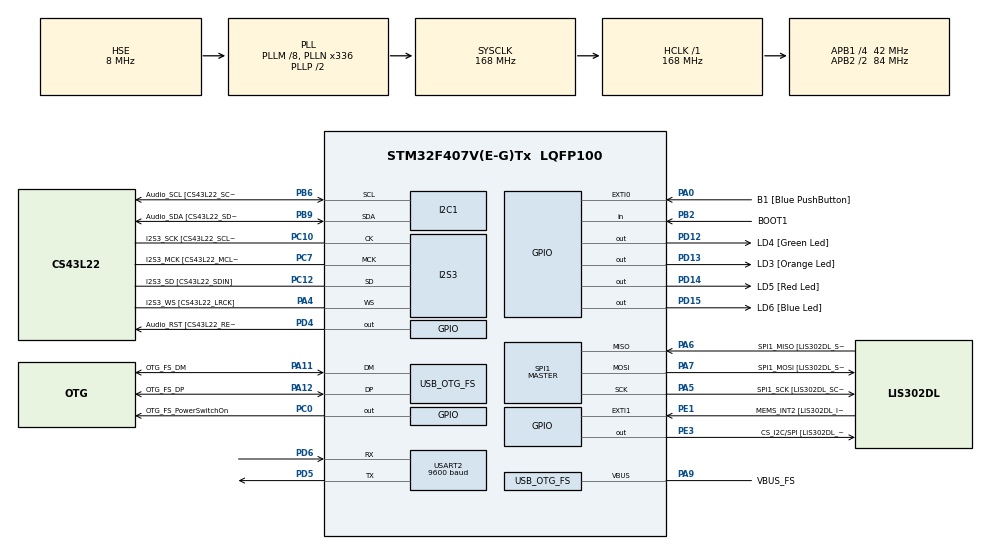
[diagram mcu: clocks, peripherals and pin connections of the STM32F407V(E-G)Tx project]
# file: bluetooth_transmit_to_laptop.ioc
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I2S3.AudioFreq-Half_Duplex_Master=I2S_AUDIOFREQ_96K
I2S3.ErrorAudioFreq=-2.34 %
I2S3.ErrorAudioFreq-Half_Duplex_Master=0.8 %
I2S3.FullDuplexMode=I2S_FULLDUPLEXMODE_DISABLE
I2S3.Instance=SPI$Index
I2S3.RealAudioFreq=93.75 KHz
I2S3.RealAudioFreq-Half_Duplex_Master=96.774 KHz
I2S3.VirtualMode=I2S_MODE_MASTER
Mcu.Family=STM32F4
Mcu.Name=STM32F407V(E-G)Tx
Mcu.Package=LQFP100
NVIC.OTG_FS_IRQn=true\:0\:0\:false\:false\:true\:true\:true\:true
NVIC.PriorityGroup=NVIC_PRIORITYGROUP_0
NVIC.USART2_IRQn=true\:0\:0\:false\:false\:true\:true\:true\:true
PA0-WKUP.GPIO_Label=B1 [Blue PushButton]
PA0-WKUP.GPIO_ModeDefaultEXTI=GPIO_MODE_EVT_RISING
PA0-WKUP.GPIO_PuPd=GPIO_NOPULL
PA0-WKUP.Signal=GPXTI0
PA10.GPIO_Label=OTG_FS_ID
PA10.GPIO_Mode=GPIO_MODE_AF_PP
PA10.GPIO_PuPd=GPIO_NOPULL
PA10.GPIO_Speed=GPIO_SPEED_FREQ_LOW
PA10.Signal=USB_OTG_FS_ID
PA11.GPIO_Label=OTG_FS_DM
PA11.GPIO_Mode=GPIO_MODE_AF_PP
PA11.GPIO_PuPd=GPIO_NOPULL
PA11.GPIO_Speed=GPIO_SPEED_FREQ_LOW
PA11.Mode=Host_Only
PA11.Signal=USB_OTG_FS_DM
PA12.GPIO_Label=OTG_FS_DP
PA12.GPIO_Mode=GPIO_MODE_AF_PP
PA12.GPIO_PuPd=GPIO_NOPULL
PA12.GPIO_Speed=GPIO_SPEED_FREQ_LOW
PA12.Mode=Host_Only
PA12.Signal=USB_OTG_FS_DP
PA13.GPIO_Label=SWDIO
PA13.Mode=Serial_Wire
PA13.Signal=SYS_JTMS-SWDIO
PA14.GPIO_Label=SWCLK
PA14.Mode=Serial_Wire
PA14.Signal=SYS_JTCK-SWCLK
PA4.GPIO_Label=I2S3_WS [CS43L22_LRCK]
PA4.GPIO_Mode=GPIO_MODE_AF_PP
PA4.GPIO_PuPd=GPIO_NOPULL
PA4.GPIO_Speed=GPIO_SPEED_FREQ_LOW
PA4.Mode=Half_Duplex_Master
PA4.Signal=I2S3_WS
PA5.GPIO_Label=SPI1_SCK [LIS302DL_SCL/SPC]
PA5.GPIO_Mode=GPIO_MODE_AF_PP
PA5.GPIO_PuPd=GPIO_NOPULL
PA5.GPIO_Speed=GPIO_SPEED_FREQ_LOW
PA5.Mode=Full_Duplex_Master
PA5.Signal=SPI1_SCK
PA6.GPIO_Label=SPI1_MISO [LIS302DL_SDO]
PA6.GPIO_Mode=GPIO_MODE_AF_PP
PA6.GPIO_PuPd=GPIO_NOPULL
PA6.GPIO_Speed=GPIO_SPEED_FREQ_LOW
PA6.Mode=Full_Duplex_Master
PA6.Signal=SPI1_MISO
PA7.GPIO_Label=SPI1_MOSI [LIS302DL_SDA/SDI/SDO]
PA7.GPIO_Mode=GPIO_MODE_AF_PP
PA7.GPIO_PuPd=GPIO_NOPULL
PA7.GPIO_Speed=GPIO_SPEED_FREQ_LOW
PA7.Mode=Full_Duplex_Master
PA7.Signal=SPI1_MOSI
PA9.GPIO_Label=VBUS_FS
PA9.GPIO_Mode=GPIO_MODE_INPUT
PA9.GPIO_PuPd=GPIO_NOPULL
PA9.Mode=Activate_VBUS
PA9.Signal=USB_OTG_FS_VBUS
PB10.GPIO_Label=CLK_IN [MP45DT02_CLK]
PB10.GPIO_Mode=GPIO_MODE_AF_PP
PB10.GPIO_PuPd=GPIO_NOPULL
PB10.GPIO_Speed=GPIO_SPEED_FREQ_LOW
PB10.Signal=I2S2_CK
PB2.GPIO_Label=BOOT1
PB2.GPIO_Mode=GPIO_MODE_INPUT
PB2.GPIO_PuPd=GPIO_NOPULL
PB2.Signal=GPIO_Input
PB3.GPIO_Label=SWO
PB3.Signal=SYS_JTDO-SWO
PB6.GPIO_Label=Audio_SCL [CS43L22_SCL]
PB6.GPIO_Mode=GPIO_MODE_AF_OD
PB6.GPIO_Pu=GPIO_PULLUP
PB6.GPIO_PuPd=GPIO_NOPULL
PB6.GPIO_Speed=GPIO_SPEED_FREQ_LOW
PB6.Mode=I2C
PB6.Signal=I2C1_SCL
PB9.GPIO_Label=Audio_SDA [CS43L22_SDA]
PB9.GPIO_Mode=GPIO_MODE_AF_OD
PB9.GPIO_Pu=GPIO_PULLUP
PB9.GPIO_PuPd=GPIO_NOPULL
PB9.GPIO_Speed=GPIO_SPEED_FREQ_LOW
PB9.Mode=I2C
PB9.Signal=I2C1_SDA
PC0.GPIO_Label=OTG_FS_PowerSwitchOn
PC0.GPIO_PuPd=GPIO_NOPULL
PC0.GPIO_Speed=GPIO_SPEED_FREQ_LOW
PC0.PinState=GPIO_PIN_SET
PC0.Signal=GPIO_Output
PC10.GPIO_Label=I2S3_SCK [CS43L22_SCLK]
PC10.GPIO_Mode=GPIO_MODE_AF_PP
PC10.GPIO_PuPd=GPIO_NOPULL
PC10.GPIO_Speed=GPIO_SPEED_FREQ_LOW
PC10.Mode=Half_Duplex_Master
PC10.Signal=I2S3_CK
PC12.GPIO_Label=I2S3_SD [CS43L22_SDIN]
PC12.GPIO_Mode=GPIO_MODE_AF_PP
PC12.GPIO_PuPd=GPIO_NOPULL
PC12.GPIO_Speed=GPIO_SPEED_FREQ_LOW
PC12.Mode=Half_Duplex_Master
PC12.Signal=I2S3_SD
PC14-OSC32_IN.GPIO_Label=PC14-OSC32_IN
PC14-OSC32_IN.Mode=LSE-External-Oscillator
PC14-OSC32_IN.Signal=RCC_OSC32_IN
PC15-OSC32_OUT.GPIO_Label=PC15-OSC32_OUT
PC15-OSC32_OUT.Mode=LSE-External-Oscillator
PC15-OSC32_OUT.Signal=RCC_OSC32_OUT
PC3.GPIO_Label=PDM_OUT [MP45DT02_DOUT]
PC3.GPIO_Mode=GPIO_MODE_AF_PP
PC3.GPIO_PuPd=GPIO_NOPULL
PC3.GPIO_Speed=GPIO_SPEED_FREQ_LOW
PC3.Signal=I2S2_SD
PC7.GPIO_Label=I2S3_MCK [CS43L22_MCLK]
PC7.GPIO_Mode=GPIO_MODE_AF_PP
PC7.GPIO_PuPd=GPIO_NOPULL
PC7.GPIO_Speed=GPIO_SPEED_FREQ_LOW
PC7.Mode=Master_Clock_Activated
PC7.Signal=I2S3_MCK
PD12.GPIO_Label=LD4 [Green Led]
PD12.GPIO_PuPd=GPIO_NOPULL
PD12.GPIO_Speed=GPIO_SPEED_FREQ_LOW
PD12.Signal=GPIO_Output
PD13.GPIO_Label=LD3 [Orange Led]
PD13.GPIO_PuPd=GPIO_NOPULL
PD13.GPIO_Speed=GPIO_SPEED_FREQ_LOW
PD13.Signal=GPIO_Output
PD14.GPIO_Label=LD5 [Red Led]
PD14.GPIO_PuPd=GPIO_NOPULL
PD14.GPIO_Speed=GPIO_SPEED_FREQ_LOW
PD14.Signal=GPIO_Output
PD15.GPIO_Label=LD6 [Blue Led]
PD15.GPIO_PuPd=GPIO_NOPULL
PD15.GPIO_Speed=GPIO_SPEED_FREQ_LOW
PD15.Signal=GPIO_Output
PD4.GPIO_Label=Audio_RST [CS43L22_RESET]
PD4.GPIO_PuPd=GPIO_NOPULL
PD4.GPIO_Speed=GPIO_SPEED_FREQ_LOW
PD4.Signal=GPIO_Output
PD5.Mode=Asynchronous
PD5.Signal=USART2_TX
PD6.Mode=Asynchronous
PD6.Signal=USART2_RX
PE1.GPIO_Label=MEMS_INT2 [LIS302DL_INT2]
PE1.GPIO_ModeDefaultEXTI=GPIO_MODE_EVT_RISING
PE1.GPIO_PuPd=GPIO_NOPULL
PE1.Signal=GPXTI1
PE3.GPIO_Label=CS_I2C/SPI [LIS302DL_CS_I2C/SPI]
PE3.GPIO_PuPd=GPIO_NOPULL
PE3.GPIO_Speed=GPIO_SPEED_FREQ_LOW
PE3.Signal=GPIO_Output
PH0-OSC_IN.GPIO_Label=PH0-OSC_IN
PH0-OSC_IN.Mode=HSE-External-Oscillator
PH0-OSC_IN.Signal=RCC_OSC_IN
PH1-OSC_OUT.GPIO_Label=PH1-OSC_OUT
PH1-OSC_OUT.Mode=HSE-External-Oscillator
PH1-OSC_OUT.Signal=RCC_OSC_OUT
ProjectManager.HeapSize=0x200
ProjectManager.StackSize=0x400
ProjectManager.TargetToolchain=CMake
RCC.48MHZClocksFreq_Value=48000000
RCC.AHBFreq_Value=168000000
RCC.APB1CLKDivider=RCC_HCLK_DIV4
RCC.APB1Freq_Value=42000000
RCC.APB1TimFreq_Value=84000000
RCC.APB2CLKDivider=RCC_HCLK_DIV2
RCC.APB2Freq_Value=84000000
RCC.APB2TimFreq_Value=168000000
RCC.CortexFreq_Value=168000000
RCC.HCLKFreq_Value=168000000
RCC.HSE_VALUE=8000000
RCC.HSI_VALUE=16000000
RCC.PLLM=8
RCC.PLLN=336
RCC.PLLQ=7
RCC.SYSCLKFreq_VALUE=168000000
RCC.SYSCLKSource=RCC_SYSCLKSOURCE_PLLCLK
RCC.VCOOutputFreq_Value=336000000
SPI1.BaudRatePrescaler-Full_Duplex_Master=SPI_BAUDRATEPRESCALER_2
SPI1.CalculateBaudRate-Full_Duplex_Master=42.0 MBits/s
SPI1.Direction=SPI_DIRECTION_2LINES
SPI1.Mode=SPI_MODE_MASTER
SPI1.Mode-Full_Duplex_Master=SPI_MODE_MASTER
SPI1.VirtualType=VM_MASTER
USART2.BaudRate=9600
USART2.VirtualMode=VM_ASYNC
USB_HOST.BSP.number=1
USB_HOST.USBH_HandleTypeDef-CDC_FS=hUsbHostFS
USB_HOST.VirtualModeFS=Cdc
USB_HOST0.BSP.STBoard=false
USB_HOST0.BSP.api=Unknown
USB_HOST0.BSP.instance=PC0
USB_HOST0.BSP.ip=GPIO
USB_HOST0.BSP.mode=Output
USB_HOST0.BSP.name=Drive_VBUS_FS
USB_HOST0.BSP.solution=PC0
USB_OTG_FS.VirtualMode=Host_Only
USB_OTG_FS.phy_itface=HCD_PHY_EMBEDDED
VP_USB_HOST_VS_USB_HOST_CDC_FS.Mode=CDC_FS
board=STM32F407G-DISC1

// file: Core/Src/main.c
/* USER CODE BEGIN Header */
/**
  ******************************************************************************
  * @file           : main.c
  * @brief          : Main program body
  ******************************************************************************
  * @attention
  *
  * Copyright (c) 2026 STMicroelectronics.
  * All rights reserved.
  *
  * This software is licensed under terms that can be found in the LICENSE file
  * in the root directory of this software component.
  * If no LICENSE file comes with this software, it is provided AS-IS.
  *
  ******************************************************************************
  */
/* USER CODE END Header */
#include "main.h"
#include "usb_host.h"

I2C_HandleTypeDef hi2c1;

I2S_HandleTypeDef hi2s3;

SPI_HandleTypeDef hspi1;

UART_HandleTypeDef huart2;

/* USER CODE BEGIN PV */
char msg[] = "Hello from STM32\r\n";
char matrix[2][3] = {{'1', '1', '0'},{'0', '0', '1'}};
uint8_t rxData;
/* USER CODE END PV */

void SystemClock_Config(void);
static void MX_GPIO_Init(void);
static void MX_I2C1_Init(void);
static void MX_I2S3_Init(void);
static void MX_SPI1_Init(void);
static void MX_USART2_UART_Init(void);
void MX_USB_HOST_Process(void);

int main(void)
{

  /* MCU Configuration--------------------------------------------------------*/

  /* Reset of all peripherals, Initializes the Flash interface and the Systick. */
  HAL_Init();

  /* Configure the system clock */
  SystemClock_Config();

  /* Initialize all configured peripherals */
  MX_GPIO_Init();
  MX_I2C1_Init();
  MX_I2S3_Init();
  MX_SPI1_Init();
  MX_USART2_UART_Init();
  MX_USB_HOST_Init();
  /* USER CODE BEGIN 2 */
  HAL_UART_Receive_IT(&huart2,&rxData,1); // Enabling interrupt receive
  /* USER CODE END 2 */

  /* Infinite loop */
  /* USER CODE BEGIN WHILE */
  while (1)
  {
    // HAL_UART_Transmit(&huart2, (uint8_t*)msg, sizeof(msg)-1, HAL_MAX_DELAY);
    HAL_Delay(500);
    for (int i = 0; i < 2; i++) {
      char currMsg[4];
      for (int j = 0; j < 3; j++)
        currMsg[j] = matrix[i][j];
      currMsg[3] = '\0';

      char endl[] = "\r\n";
      HAL_UART_Transmit(&huart2, (uint8_t*)currMsg, 4, HAL_MAX_DELAY);
      HAL_UART_Transmit(&huart2, (uint8_t*)endl, 2, HAL_MAX_DELAY);
    }
    HAL_Delay(1000);
    break;
    /* USER CODE END WHILE */
    MX_USB_HOST_Process();

  }
}

void SystemClock_Config(void)
{
  RCC_OscInitTypeDef RCC_OscInitStruct = {0};
  RCC_ClkInitTypeDef RCC_ClkInitStruct = {0};

  /** Configure the main internal regulator output voltage
  */
  __HAL_RCC_PWR_CLK_ENABLE();
  __HAL_PWR_VOLTAGESCALING_CONFIG(PWR_REGULATOR_VOLTAGE_SCALE1);

  /** Initializes the RCC Oscillators according to the specified parameters
  * in the RCC_OscInitTypeDef structure.
  */
  RCC_OscInitStruct.OscillatorType = RCC_OSCILLATORTYPE_HSE;
  RCC_OscInitStruct.HSEState = RCC_HSE_ON;
  RCC_OscInitStruct.PLL.PLLState = RCC_PLL_ON;
  RCC_OscInitStruct.PLL.PLLSource = RCC_PLLSOURCE_HSE;
  RCC_OscInitStruct.PLL.PLLM = 8;
  RCC_OscInitStruct.PLL.PLLN = 336;
  RCC_OscInitStruct.PLL.PLLP = RCC_PLLP_DIV2;
  RCC_OscInitStruct.PLL.PLLQ = 7;
  if (HAL_RCC_OscConfig(&RCC_OscInitStruct) != HAL_OK)
  {
    Error_Handler();
  }

  /** Initializes the CPU, AHB and APB buses clocks
  */
  RCC_ClkInitStruct.ClockType = RCC_CLOCKTYPE_HCLK|RCC_CLOCKTYPE_SYSCLK
                              |RCC_CLOCKTYPE_PCLK1|RCC_CLOCKTYPE_PCLK2;
  RCC_ClkInitStruct.SYSCLKSource = RCC_SYSCLKSOURCE_PLLCLK;
  RCC_ClkInitStruct.AHBCLKDivider = RCC_SYSCLK_DIV1;
  RCC_ClkInitStruct.APB1CLKDivider = RCC_HCLK_DIV4;
  RCC_ClkInitStruct.APB2CLKDivider = RCC_HCLK_DIV2;

  if (HAL_RCC_ClockConfig(&RCC_ClkInitStruct, FLASH_LATENCY_5) != HAL_OK)
  {
    Error_Handler();
  }
}

static void MX_I2C1_Init(void)
{

  hi2c1.Instance = I2C1;
  hi2c1.Init.ClockSpeed = 100000;
  hi2c1.Init.DutyCycle = I2C_DUTYCYCLE_2;
  hi2c1.Init.OwnAddress1 = 0;
  hi2c1.Init.AddressingMode = I2C_ADDRESSINGMODE_7BIT;
  hi2c1.Init.DualAddressMode = I2C_DUALADDRESS_DISABLE;
  hi2c1.Init.OwnAddress2 = 0;
  hi2c1.Init.GeneralCallMode = I2C_GENERALCALL_DISABLE;
  hi2c1.Init.NoStretchMode = I2C_NOSTRETCH_DISABLE;
  if (HAL_I2C_Init(&hi2c1) != HAL_OK)
  {
    Error_Handler();
  }

}

static void MX_I2S3_Init(void)
{

  hi2s3.Instance = SPI3;
  hi2s3.Init.Mode = I2S_MODE_MASTER_TX;
  hi2s3.Init.Standard = I2S_STANDARD_PHILIPS;
  hi2s3.Init.DataFormat = I2S_DATAFORMAT_16B;
  hi2s3.Init.MCLKOutput = I2S_MCLKOUTPUT_ENABLE;
  hi2s3.Init.AudioFreq = I2S_AUDIOFREQ_96K;
  hi2s3.Init.CPOL = I2S_CPOL_LOW;
  hi2s3.Init.ClockSource = I2S_CLOCK_PLL;
  hi2s3.Init.FullDuplexMode = I2S_FULLDUPLEXMODE_DISABLE;
  if (HAL_I2S_Init(&hi2s3) != HAL_OK)
  {
    Error_Handler();
  }

}

static void MX_SPI1_Init(void)
{

  /* SPI1 parameter configuration*/
  hspi1.Instance = SPI1;
  hspi1.Init.Mode = SPI_MODE_MASTER;
  hspi1.Init.Direction = SPI_DIRECTION_2LINES;
  hspi1.Init.DataSize = SPI_DATASIZE_8BIT;
  hspi1.Init.CLKPolarity = SPI_POLARITY_LOW;
  hspi1.Init.CLKPhase = SPI_PHASE_1EDGE;
  hspi1.Init.NSS = SPI_NSS_SOFT;
  hspi1.Init.BaudRatePrescaler = SPI_BAUDRATEPRESCALER_2;
  hspi1.Init.FirstBit = SPI_FIRSTBIT_MSB;
  hspi1.Init.TIMode = SPI_TIMODE_DISABLE;
  hspi1.Init.CRCCalculation = SPI_CRCCALCULATION_DISABLE;
  hspi1.Init.CRCPolynomial = 10;
  if (HAL_SPI_Init(&hspi1) != HAL_OK)
  {
    Error_Handler();
  }

}

static void MX_USART2_UART_Init(void)
{

  huart2.Instance = USART2;
  huart2.Init.BaudRate = 9600;
  huart2.Init.WordLength = UART_WORDLENGTH_8B;
  huart2.Init.StopBits = UART_STOPBITS_1;
  huart2.Init.Parity = UART_PARITY_NONE;
  huart2.Init.Mode = UART_MODE_TX_RX;
  huart2.Init.HwFlowCtl = UART_HWCONTROL_NONE;
  huart2.Init.OverSampling = UART_OVERSAMPLING_16;
  if (HAL_UART_Init(&huart2) != HAL_OK)
  {
    Error_Handler();
  }

}

static void MX_GPIO_Init(void)
{
  GPIO_InitTypeDef GPIO_InitStruct = {0};

  /* GPIO Ports Clock Enable */
  __HAL_RCC_GPIOE_CLK_ENABLE();
  __HAL_RCC_GPIOC_CLK_ENABLE();
  __HAL_RCC_GPIOH_CLK_ENABLE();
  __HAL_RCC_GPIOA_CLK_ENABLE();
  __HAL_RCC_GPIOB_CLK_ENABLE();
  __HAL_RCC_GPIOD_CLK_ENABLE();

  /*Configure GPIO pin Output Level */
  HAL_GPIO_WritePin(CS_I2C_SPI_GPIO_Port, CS_I2C_SPI_Pin, GPIO_PIN_RESET);

  /*Configure GPIO pin Output Level */
  HAL_GPIO_WritePin(OTG_FS_PowerSwitchOn_GPIO_Port, OTG_FS_PowerSwitchOn_Pin, GPIO_PIN_SET);

  /*Configure GPIO pin Output Level */
  HAL_GPIO_WritePin(GPIOD, LD4_Pin|LD3_Pin|LD5_Pin|LD6_Pin
                          |Audio_RST_Pin, GPIO_PIN_RESET);

  /*Configure GPIO pin : CS_I2C_SPI_Pin */
  GPIO_InitStruct.Pin = CS_I2C_SPI_Pin;
  GPIO_InitStruct.Mode = GPIO_MODE_OUTPUT_PP;
  GPIO_InitStruct.Pull = GPIO_NOPULL;
  GPIO_InitStruct.Speed = GPIO_SPEED_FREQ_LOW;
  HAL_GPIO_Init(CS_I2C_SPI_GPIO_Port, &GPIO_InitStruct);

  /*Configure GPIO pin : OTG_FS_PowerSwitchOn_Pin */
  GPIO_InitStruct.Pin = OTG_FS_PowerSwitchOn_Pin;
  GPIO_InitStruct.Mode = GPIO_MODE_OUTPUT_PP;
  GPIO_InitStruct.Pull = GPIO_NOPULL;
  GPIO_InitStruct.Speed = GPIO_SPEED_FREQ_LOW;
  HAL_GPIO_Init(OTG_FS_PowerSwitchOn_GPIO_Port, &GPIO_InitStruct);

  /*Configure GPIO pin : PDM_OUT_Pin */
  GPIO_InitStruct.Pin = PDM_OUT_Pin;
  GPIO_InitStruct.Mode = GPIO_MODE_AF_PP;
  GPIO_InitStruct.Pull = GPIO_NOPULL;
  GPIO_InitStruct.Speed = GPIO_SPEED_FREQ_LOW;
  GPIO_InitStruct.Alternate = GPIO_AF5_SPI2;
  HAL_GPIO_Init(PDM_OUT_GPIO_Port, &GPIO_InitStruct);

  /*Configure GPIO pin : B1_Pin */
  GPIO_InitStruct.Pin = B1_Pin;
  GPIO_InitStruct.Mode = GPIO_MODE_EVT_RISING;
  GPIO_InitStruct.Pull = GPIO_NOPULL;
  HAL_GPIO_Init(B1_GPIO_Port, &GPIO_InitStruct);

  /*Configure GPIO pin : BOOT1_Pin */
  GPIO_InitStruct.Pin = BOOT1_Pin;
  GPIO_InitStruct.Mode = GPIO_MODE_INPUT;
  GPIO_InitStruct.Pull = GPIO_NOPULL;
  HAL_GPIO_Init(BOOT1_GPIO_Port, &GPIO_InitStruct);

  /*Configure GPIO pin : CLK_IN_Pin */
  GPIO_InitStruct.Pin = CLK_IN_Pin;
  GPIO_InitStruct.Mode = GPIO_MODE_AF_PP;
  GPIO_InitStruct.Pull = GPIO_NOPULL;
  GPIO_InitStruct.Speed = GPIO_SPEED_FREQ_LOW;
  GPIO_InitStruct.Alternate = GPIO_AF5_SPI2;
  HAL_GPIO_Init(CLK_IN_GPIO_Port, &GPIO_InitStruct);

  /*Configure GPIO pins : LD4_Pin LD3_Pin LD5_Pin LD6_Pin
                           Audio_RST_Pin */
  GPIO_InitStruct.Pin = LD4_Pin|LD3_Pin|LD5_Pin|LD6_Pin
                          |Audio_RST_Pin;
  GPIO_InitStruct.Mode = GPIO_MODE_OUTPUT_PP;
  GPIO_InitStruct.Pull = GPIO_NOPULL;
  GPIO_InitStruct.Speed = GPIO_SPEED_FREQ_LOW;
  HAL_GPIO_Init(GPIOD, &GPIO_InitStruct);

  /*Configure GPIO pin : MEMS_INT2_Pin */
  GPIO_InitStruct.Pin = MEMS_INT2_Pin;
  GPIO_InitStruct.Mode = GPIO_MODE_EVT_RISING;
  GPIO_InitStruct.Pull = GPIO_NOPULL;
  HAL_GPIO_Init(MEMS_INT2_GPIO_Port, &GPIO_InitStruct);

}

/* USER CODE BEGIN 4 */
void HAL_UART_RxCpltCallback(UART_HandleTypeDef *huart)
{
  if(huart->Instance==USART2)
  {
    if(rxData==78) // Ascii value of 'N' is 78 (N for NO)
    {
      HAL_GPIO_WritePin(LD4_GPIO_Port, LD4_Pin, GPIO_PIN_RESET);
    }
    else if (rxData==89) // Ascii value of 'Y' is 89 (Y for YES)
    {
      HAL_GPIO_WritePin(LD4_GPIO_Port, LD4_Pin, GPIO_PIN_SET);
    }
    HAL_UART_Receive_IT(&huart2,&rxData,1); // Enabling interrupt receive again
  }
}
/* USER CODE END 4 */

void Error_Handler(void)
{
  __disable_irq();
  while (1)
  {
  }
}
